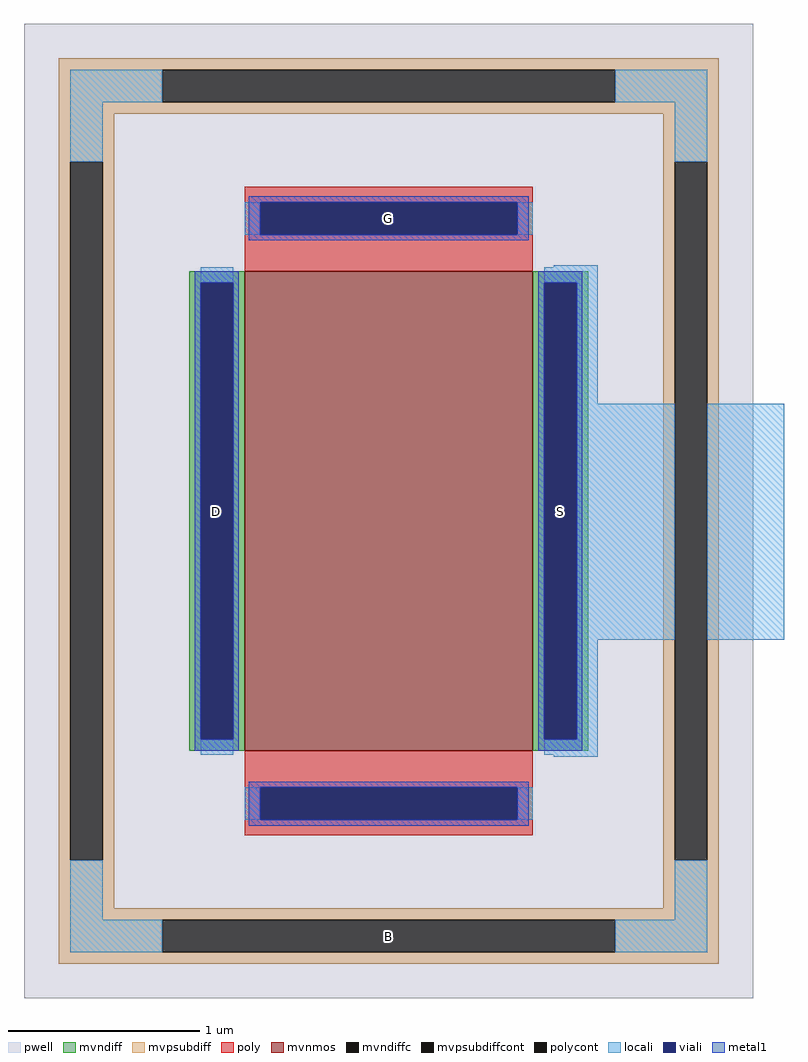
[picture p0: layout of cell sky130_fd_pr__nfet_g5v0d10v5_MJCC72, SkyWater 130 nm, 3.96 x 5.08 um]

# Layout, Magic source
magic
tech sky130A
magscale 1 2
<< pwell >>
rect -380 -508 380 508
<< mvnmos >>
rect -150 -250 150 250
<< mvndiff >>
rect -208 238 -150 250
rect -208 -238 -196 238
rect -162 -238 -150 238
rect -208 -250 -150 -238
rect 150 238 208 250
rect 150 -238 162 238
rect 196 -238 208 238
rect 150 -250 208 -238
<< mvndiffc >>
rect -196 -238 -162 238
rect 162 -238 196 238
<< mvpsubdiff >>
rect -344 460 344 472
rect -344 426 -236 460
rect 236 426 344 460
rect -344 414 344 426
rect -344 364 -286 414
rect -344 -364 -332 364
rect -298 -364 -286 364
rect 286 364 344 414
rect -344 -414 -286 -364
rect 286 -364 298 364
rect 332 -364 344 364
rect 286 -414 344 -364
rect -344 -426 344 -414
rect -344 -460 -236 -426
rect 236 -460 344 -426
rect -344 -472 344 -460
<< mvpsubdiffcont >>
rect -236 426 236 460
rect -332 -364 -298 364
rect 298 -364 332 364
rect -236 -460 236 -426
<< poly >>
rect -150 322 150 338
rect -150 288 -134 322
rect 134 288 150 322
rect -150 250 150 288
rect -150 -288 150 -250
rect -150 -322 -134 -288
rect 134 -322 150 -288
rect -150 -338 150 -322
<< polycont >>
rect -134 288 134 322
rect -134 -322 134 -288
<< locali >>
rect -332 426 -236 460
rect 236 426 332 460
rect -332 364 -298 426
rect 298 364 332 426
rect -150 288 -134 322
rect 134 288 150 322
rect 172 254 218 256
rect -196 238 -162 254
rect -196 -254 -162 -238
rect 162 238 218 254
rect 196 112 218 238
rect 196 -134 298 112
rect 196 -238 218 -134
rect 162 -254 218 -238
rect 172 -256 218 -254
rect -150 -322 -134 -288
rect 134 -322 150 -288
rect -332 -426 -298 -364
rect 332 -134 412 112
rect 298 -426 332 -364
rect -332 -460 -236 -426
rect 236 -460 332 -426
<< viali >>
rect -134 288 134 322
rect -196 -238 -162 238
rect 162 -238 196 238
rect -134 -322 134 -288
<< metal1 >>
rect -146 322 146 328
rect -146 288 -134 322
rect 134 288 146 322
rect -146 282 146 288
rect -202 238 -156 250
rect -202 -238 -196 238
rect -162 -238 -156 238
rect -202 -250 -156 -238
rect 156 238 202 250
rect 156 -238 162 238
rect 196 -238 202 238
rect 156 -250 202 -238
rect -146 -288 146 -282
rect -146 -322 -134 -288
rect 134 -322 146 -288
rect -146 -328 146 -322
<< labels >>
rlabel mvpsubdiffcont 0 -443 0 -443 0 B
port 1 nsew
rlabel mvndiffc -179 0 -179 0 0 D
port 2 nsew
rlabel mvndiffc 179 0 179 0 0 S
port 3 nsew
rlabel polycont 0 305 0 305 0 G
port 4 nsew
<< properties >>
string FIXED_BBOX -315 -443 315 443
string gencell sky130_fd_pr__nfet_g5v0d10v5
string library sky130
string parameters w 2.5 l 1.5 m 1 nf 1 diffcov 100 polycov 100 guard 1 glc 1 grc 1 gtc 1 gbc 1 tbcov 100 rlcov 100 topc 1 botc 1 poverlap 0 doverlap 1 lmin 0.50 wmin 0.42 class mosfet compatible {sky130_fd_pr__nfet_01v8 sky130_fd_pr__nfet_01v8_lvt  sky130_fd_bs_flash__special_sonosfet_star  sky130_fd_pr__nfet_g5v0d10v5 sky130_fd_pr__nfet_05v0_nvt  sky130_fd_pr__nfet_03v3_nvt} full_metal 1 conn_gates 0 viasrc 100 viadrn 100 viagate 100 viagb 0 viagr 0 viagl 0 viagt 0 doports 1
<< end >>
